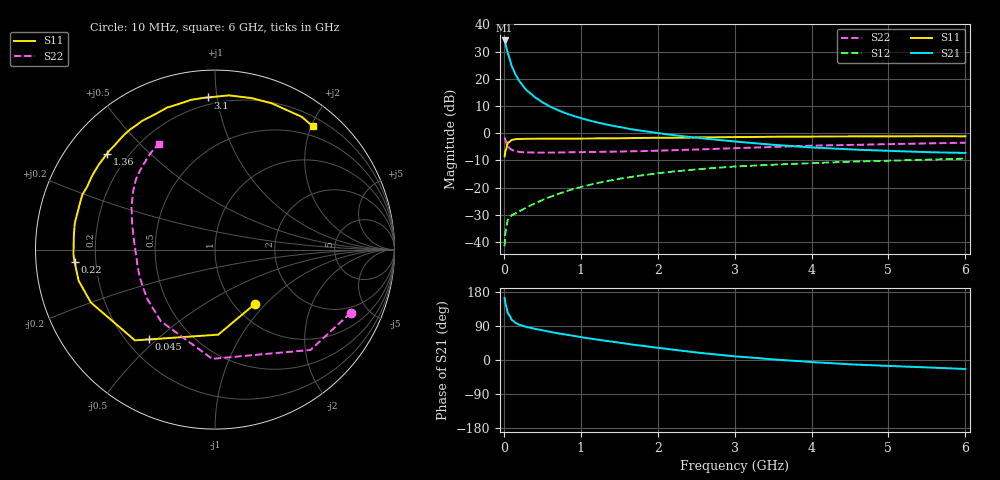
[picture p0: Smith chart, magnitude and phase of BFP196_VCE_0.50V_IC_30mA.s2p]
! Infineon Technologies  Discrete & RF Semiconductors
! BFP196
! VCE = 0.50V,  IC =  30mA
! Common Emitter S-Parameters:  Jan 2016
# GHz  S  MA  R  50
!  f  S11  S21  S12  S22
! GHz  MAG  ANG  MAG  ANG  MAG  ANG  MAG  ANG
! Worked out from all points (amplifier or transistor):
!   210 points, 10 MHz to 6 GHz, reference 50 ohm
!   highest |S21| = 34.1 dB at 10 MHz (marker M1)
!   |S21| within 3 dB of that: start of sweep to 36.53 MHz
!   unconditionally stable (mu >= 1): 457.4 MHz to end of sweep
!   at 185 MHz: K = 0.64, MSG = 24.5 dB, |S12| = -28.9 dB
!   at 1.52 GHz: K = 1.14, MAG = 7.2 dB, |S12| = -16.7 dB
!   at 6 GHz: K = 1.05, MAG = -0.4 dB, |S12| = -9.3 dB
!   S11 on the Smith chart (normalised r, x): 10 MHz: 1.23, -0.87; 45 MHz: 0.29, -0.47; 220 MHz: 0.12, -0.04; 1.36 GHz: 0.12, +0.37; 3.1 GHz: 0.16, +0.94; 6 GHz: 0.34, +2.03
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0.01  0.3755 -53.7  50.56 163.9  0.0084 74.7  0.8338 -25.0
0.02  0.4742 -87.8  44.84 149.2  0.015 62.5  0.7719 -46.4
0.045  0.6215 -126.4  31.94 129.4  0.0236 45.2  0.6051 -82.8
0.05  0.6743 -131.4  30.05 123.6  0.0255 43.2  0.6089 -91.5
0.1  0.7517 -156.9  17.39 106.2  0.0309 35.4  0.5004 -127.0
0.15  0.7792 -167.1  11.98 98.2  0.0337 36.3  0.4675 -143.3
0.2  0.7825 -173.0  9.123 93.2  0.0366 39.1  0.4531 -152.4
0.22  0.7847 -174.9  8.383 92.0  0.0379 40.4  0.4501 -154.9
0.26  0.789 -178.5  7.043 89.2  0.0407 42.8  0.4464 -159.4
0.3  0.788 178.7  6.091 86.9  0.0438 44.8  0.4439 -162.5
0.4  0.7913 173.2  4.612 82.3  0.0509 49.4  0.4415 -168.3
0.5  0.7949 169.1  3.703 78.5  0.059 51.6  0.4392 -172.0
0.6  0.7932 164.9  3.089 74.3  0.0673 53.4  0.4396 -174.7
0.7  0.7959 160.8  2.66 70.4  0.076 54.3  0.4418 -177.0
0.9  0.794 154.0  2.083 64.0  0.0939 54.2  0.4442 179.3
1.02  0.7977 149.6  1.856 60.0  0.1043 53.9  0.4465 177.6
1.36  0.8044 138.4  1.419 49.8  0.1335 50.6  0.4551 172.9
2.02  0.8239 119.2  0.997 31.7  0.1848 41.7  0.4783 164.3
3.1  0.8487 92.6  0.684 8.2  0.2478 25.7  0.5352 149.6
4.1  0.8686 74.7  0.538 -6.5  0.2852 12.8  0.5934 137.1
5.1  0.8755 61.4  0.469 -16.4  0.3158 1.9  0.6324 126.9
6  0.877 51.5  0.434 -23.6  0.3414 -7.9  0.6681 117.9
